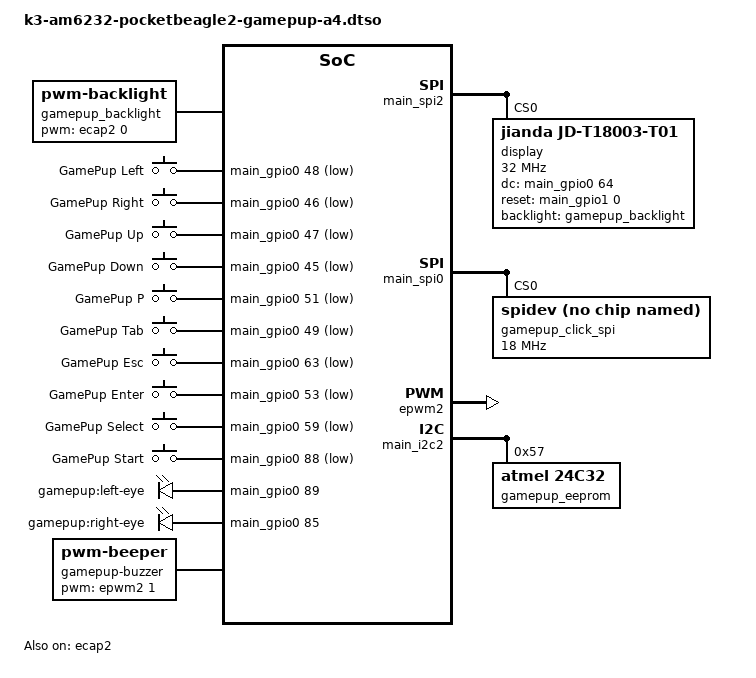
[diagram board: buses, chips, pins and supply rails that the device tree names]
// SPDX-License-Identifier: GPL-2.0-only
/*
 * Portions derived from BBORG_GAMEPUP-00A2.dts:
 * Copyright (C) 2012 Texas Instruments Incorporated - https://www.ti.com/
 */

/dts-v1/;
/plugin/;

/*
 * PocketBeagle 2 support for the PocketBeagle GamePup Cape revision A4.
 *
 * The GamePup was designed for the AM335x PocketBeagle.  On PocketBeagle 2,
 * its P1 SPI connection is main_spi2.  The A4 schematic connects LCD MOSI to
 * P1.12 (SPI2_D1 on PB2); P1.10/SPI2_D0 is the unused MISO direction.
 *
 * This source intentionally uses numeric pin configuration and input key
 * values so it can be compiled directly by dtc without a kernel source tree.
 */

&{/chosen} {
	overlays {
		gamepup-a4 = "PocketBeagle 2 GamePup A4";
	};
};

&main_pmx0 {
	gamepup_spi2_pins: gamepup-spi2-pins {
		pinctrl-single,pins = <
			0x01ac 0x020001 /* P1.06 E19: SPI2_CS0, output pull-up */
			0x01b0 0x010001 /* P1.08 A20: SPI2_CLK, output */
			0x0194 0x054001 /* P1.10 B19: SPI2_D0, MISO input */
			0x0198 0x010001 /* P1.12 A19: SPI2_D1, LCD MOSI output */

			0x0140 0x200007 /* P1.06 alternate AM62x pad disabled */
			0x01f0 0x200007 /* P1.10 alternate AM62x pad disabled */
			0x013c 0x200007 /* P1.12 alternate AM62x pad disabled */
		>;
	};

	gamepup_display_control_pins: gamepup-display-control-pins {
		pinctrl-single,pins = <
			0x0104 0x010007 /* P2.17: LCD D/C, GPIO0_64 output */
			0x0178 0x010007 /* P2.19: LCD reset, GPIO1_0 output */
		>;
	};

	gamepup_button_pins: gamepup-button-pins {
		pinctrl-single,pins = <
			0x00b8 0x064007 /* P2.02: left down, GPIO0_45 pull-up */
			0x00bc 0x064007 /* P2.04: left right, GPIO0_46 pull-up */
			0x00c0 0x064007 /* P2.06: left up, GPIO0_47 pull-up */
			0x00c4 0x064007 /* P2.08: left left, GPIO0_48 pull-up */
			0x00d8 0x064007 /* P2.18: right down, GPIO0_53 pull-up */
			0x00c8 0x064007 /* P2.20: right right, GPIO0_49 pull-up */
			0x0100 0x064007 /* P2.22: right up, GPIO0_63 pull-up */
			0x00d0 0x064007 /* P2.24: right left, GPIO0_51 pull-up */
			0x00f0 0x064007 /* P1.31: Select, GPIO0_59 pull-up */
			0x0168 0x064007 /* P1.35: Start, GPIO0_88 pull-up */
		>;
	};

	gamepup_eye_led_pins: gamepup-eye-led-pins {
		pinctrl-single,pins = <
			0x016c 0x010007 /* P1.04 Y18: left eye, GPIO0_89 output */
			0x015c 0x010007 /* P2.03 AB22: right eye, GPIO0_85 output */
			0x01a8 0x200007 /* P1.04 alternate AM62x pad disabled */
			0x019c 0x200007 /* P2.03 alternate AM62x pad disabled */
		>;
	};

	gamepup_backlight_pwm_pin: gamepup-backlight-pwm-pin {
		pinctrl-single,pins = <
			0x01a4 0x010002 /* P2.01 B20: ECAP2 PWM output */
			0x0160 0x200007 /* P2.01 alternate AM62x pad disabled */
		>;
	};

	gamepup_buzzer_pwm_pin: gamepup-buzzer-pwm-pin {
		pinctrl-single,pins = <
			0x01ec 0x010008 /* P1.33 A17: EHRPWM2_B output */
			0x00e4 0x200007 /* P1.33 alternate AM62x pad disabled */
		>;
	};

	/*
	 * GamePup mikroBUS socket 2 control signals for OLED C Click:
	 * AN=R/W, RST=reset, PWM=D/C and INT=display power enable.
	 */
	gamepup_oledc_control_pins: gamepup-oledc-control-pins {
		pinctrl-single,pins = <
			0x017c 0x010007 /* P1.19: OLED R/W, GPIO1_1 output */
			0x0180 0x010007 /* P1.34: OLED EN, GPIO1_2 output */
			0x01a0 0x010007 /* P1.02 E18: OLED reset, GPIO1_10 output */
			0x0164 0x200007 /* P1.02 alternate AM62x pad disabled */
			0x01e8 0x010007 /* P1.36 B17: OLED D/C, GPIO1_28 output */
			0x00e0 0x200007 /* P1.36 alternate AM62x pad disabled */
		>;
	};
};

&main_spi2 {
	status = "okay";
	pinctrl-names = "default";
	pinctrl-0 = <&gamepup_spi2_pins>;
	#address-cells = <1>;
	#size-cells = <0>;

	display@0 {
		compatible = "jianda,jd-t18003-t01", "sitronix,st7735r";
		reg = <0>;
		spi-max-frequency = <32000000>;
		pinctrl-names = "default";
		pinctrl-0 = <&gamepup_display_control_pins>;
		dc-gpios = <&main_gpio0 64 0>;
		reset-gpios = <&main_gpio1 0 0>;
		backlight = <&gamepup_backlight>;
		rotation = <0>;
	};
};

/* The GamePup Click socket uses the original PocketBeagle SPI1 pins. */
&main_spi0 {
	status = "okay";
	#address-cells = <1>;
	#size-cells = <0>;

	gamepup_click_spi: spidev@0 {
		compatible = "rohm,dh2228fv";
		reg = <0>;
		spi-max-frequency = <18000000>;
		pinctrl-names = "default";
		pinctrl-0 = <&gamepup_oledc_control_pins>;
	};
};

&ecap2 {
	status = "okay";
	pinctrl-names = "default";
	pinctrl-0 = <&gamepup_backlight_pwm_pin>;
};

&epwm2 {
	status = "okay";
	/* P1.36 is OLED D/C; the buzzer supplies its P1.33 pinctrl below. */
	pinctrl-names = "default";
	pinctrl-0 = <>;
};

&main_i2c2 {
	status = "okay";
	#address-cells = <1>;
	#size-cells = <0>;

	gamepup_eeprom: eeprom@57 {
		compatible = "atmel,24c32";
		reg = <0x57>;
		pagesize = <32>;
		read-only;
	};
};

&{/} {
	gamepup_backlight: backlight-gamepup {
		compatible = "pwm-backlight";
		pwms = <&ecap2 0 100000 0>;
		brightness-levels = <0 4 8 16 32 64 96 128 160 192 224 255>;
		default-brightness-level = <11>;
	};

	gamepup-buttons {
		compatible = "gpio-keys";
		pinctrl-names = "default";
		pinctrl-0 = <&gamepup_button_pins>;
		autorepeat;

		left-pad-left {
			label = "GamePup Left";
			linux,code = <105>;
			gpios = <&main_gpio0 48 1>;
			debounce-interval = <10>;
		};

		left-pad-right {
			label = "GamePup Right";
			linux,code = <106>;
			gpios = <&main_gpio0 46 1>;
			debounce-interval = <10>;
		};

		left-pad-up {
			label = "GamePup Up";
			linux,code = <103>;
			gpios = <&main_gpio0 47 1>;
			debounce-interval = <10>;
		};

		left-pad-down {
			label = "GamePup Down";
			linux,code = <108>;
			gpios = <&main_gpio0 45 1>;
			debounce-interval = <10>;
		};

		right-pad-left {
			label = "GamePup P";
			linux,code = <25>;
			gpios = <&main_gpio0 51 1>;
			debounce-interval = <10>;
		};

		right-pad-right {
			label = "GamePup Tab";
			linux,code = <15>;
			gpios = <&main_gpio0 49 1>;
			debounce-interval = <10>;
		};

		right-pad-up {
			label = "GamePup Esc";
			linux,code = <1>;
			gpios = <&main_gpio0 63 1>;
			debounce-interval = <10>;
		};

		right-pad-down {
			label = "GamePup Enter";
			linux,code = <28>;
			gpios = <&main_gpio0 53 1>;
			debounce-interval = <10>;
		};

		select {
			label = "GamePup Select";
			linux,code = <6>;
			gpios = <&main_gpio0 59 1>;
			debounce-interval = <10>;
		};

		start {
			label = "GamePup Start";
			linux,code = <2>;
			gpios = <&main_gpio0 88 1>;
			debounce-interval = <10>;
		};
	};

	gamepup-eye-leds {
		compatible = "gpio-leds";
		pinctrl-names = "default";
		pinctrl-0 = <&gamepup_eye_led_pins>;

		left-eye {
			label = "gamepup:left-eye";
			gpios = <&main_gpio0 89 0>;
			default-state = "off";
		};

		right-eye {
			label = "gamepup:right-eye";
			gpios = <&main_gpio0 85 0>;
			default-state = "off";
		};
	};

	gamepup-buzzer {
		compatible = "pwm-beeper";
		pinctrl-names = "default";
		pinctrl-0 = <&gamepup_buzzer_pwm_pin>;
		pwms = <&epwm2 1 250000 0>;
	};
};
